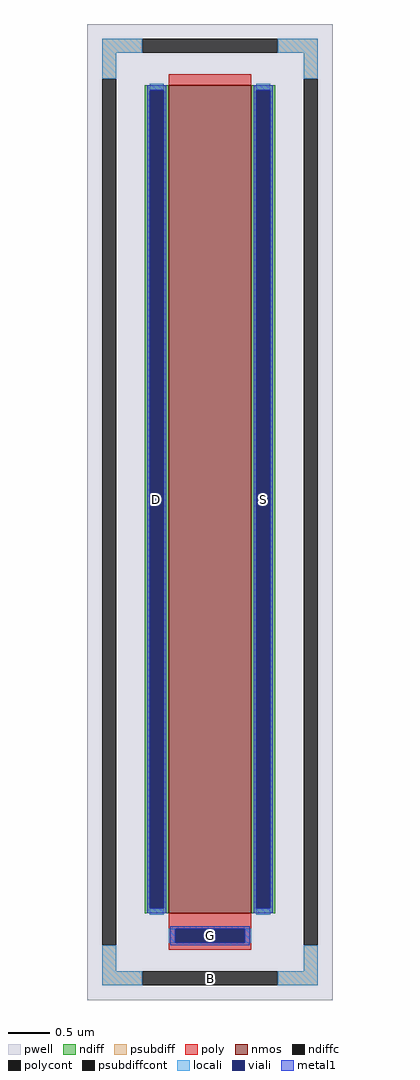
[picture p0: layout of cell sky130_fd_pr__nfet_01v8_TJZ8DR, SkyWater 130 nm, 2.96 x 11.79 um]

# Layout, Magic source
magic
tech sky130A
magscale 1 2
<< pwell >>
rect -296 -1179 296 1179
<< nmos >>
rect -100 -969 100 1031
<< ndiff >>
rect -158 1019 -100 1031
rect -158 -957 -146 1019
rect -112 -957 -100 1019
rect -158 -969 -100 -957
rect 100 1019 158 1031
rect 100 -957 112 1019
rect 146 -957 158 1019
rect 100 -969 158 -957
<< ndiffc >>
rect -146 -957 -112 1019
rect 112 -957 146 1019
<< psubdiff >>
rect -260 1109 -164 1143
rect 164 1109 260 1143
rect -260 1047 -226 1109
rect 226 1047 260 1109
rect -260 -1109 -226 -1047
rect 226 -1109 260 -1047
rect -260 -1143 -164 -1109
rect 164 -1143 260 -1109
<< psubdiffcont >>
rect -164 1109 164 1143
rect -260 -1047 -226 1047
rect 226 -1047 260 1047
rect -164 -1143 164 -1109
<< poly >>
rect -100 1031 100 1057
rect -100 -1007 100 -969
rect -100 -1041 -84 -1007
rect 84 -1041 100 -1007
rect -100 -1057 100 -1041
<< polycont >>
rect -84 -1041 84 -1007
<< locali >>
rect -260 1109 -164 1143
rect 164 1109 260 1143
rect -260 1047 -226 1109
rect 226 1047 260 1109
rect -146 1019 -112 1035
rect -146 -973 -112 -957
rect 112 1019 146 1035
rect 112 -973 146 -957
rect -100 -1041 -84 -1007
rect 84 -1041 100 -1007
rect -260 -1109 -226 -1047
rect 226 -1109 260 -1047
rect -260 -1143 -164 -1109
rect 164 -1143 260 -1109
<< viali >>
rect -146 -957 -112 1019
rect 112 -957 146 1019
rect -84 -1041 84 -1007
<< metal1 >>
rect -152 1019 -106 1031
rect -152 -957 -146 1019
rect -112 -957 -106 1019
rect -152 -969 -106 -957
rect 106 1019 152 1031
rect 106 -957 112 1019
rect 146 -957 152 1019
rect 106 -969 152 -957
rect -96 -1007 96 -1001
rect -96 -1041 -84 -1007
rect 84 -1041 96 -1007
rect -96 -1047 96 -1041
<< labels >>
rlabel psubdiffcont 0 -1126 0 -1126 0 B
port 1 nsew
rlabel ndiffc -129 31 -129 31 0 D
port 2 nsew
rlabel ndiffc 129 31 129 31 0 S
port 3 nsew
rlabel polycont 0 -1024 0 -1024 0 G
port 4 nsew
<< properties >>
string FIXED_BBOX -243 -1126 243 1126
string gencell sky130_fd_pr__nfet_01v8
string library sky130
string parameters w 10.0 l 1.0 m 1 nf 1 diffcov 100 polycov 100 guard 1 glc 1 grc 1 gtc 1 gbc 1 tbcov 100 rlcov 100 topc 0 botc 1 poverlap 0 doverlap 1 lmin 0.15 wmin 0.42 class mosfet compatible {sky130_fd_pr__nfet_01v8 sky130_fd_pr__nfet_01v8_lvt  sky130_fd_bs_flash__special_sonosfet_star  sky130_fd_pr__nfet_g5v0d10v5 sky130_fd_pr__nfet_05v0_nvt  sky130_fd_pr__nfet_03v3_nvt} full_metal 1 conn_gates 0 viasrc 100 viadrn 100 viagate 100 viagb 0 viagr 0 viagl 0 viagt 0 doports 1
<< end >>
